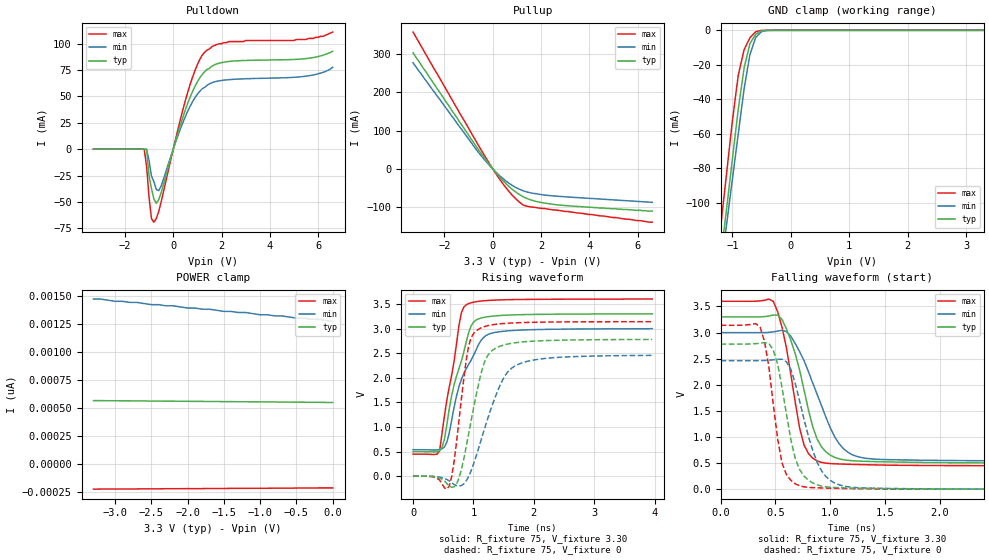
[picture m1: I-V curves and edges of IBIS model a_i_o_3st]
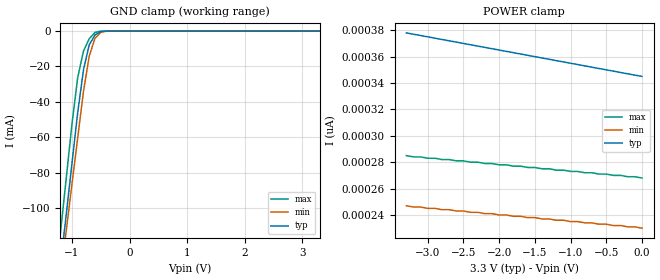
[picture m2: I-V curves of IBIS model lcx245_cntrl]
|   ON Semiconductor Corporation
|   IBIS Model of 74LCX245DT
|   Low Voltage CMOS Octal Transceiver
|   TSSOP_20 (DT) Package Type
[IBIS Ver]   3.2
[Comment Char]   |_char
[File name]   mc74lcx245dt_c300.ibs
[File Rev]   1.0
[Date]   11/21/03
[Source]
From DC lab measurements and simulations for AC at ON Semiconductor
[Notes]
Created by Duane Mattheisen
Modeling Support Engineer
| This model represents the 74LCX245DT where 3.0<= Vcc =< 3.6
[Disclaimer]
ON Semiconductor Corporation hereby grants
the user of this IBIS model a license to use this IBIS
model under the following terms. This license in non-exclusive
and non-transferable. Before using this IBIS model. After reading
the terms and conditions of this license, the user either must accept
these terms, or the IBIS model should be returned to ON within 30 days.
     The user is hereby granted a license to use the
IBIS model. This shall not be construed as a right to sell, or otherwise
profit either by leasing or renting this software.
     The user may modify the IBIS model to suit his specific applications
but rights to derivative works and such modifications shall belong to
ON Semiconductor.
     This IBIS model is provided on an "as is" basis. ON Semiconductor
makes absolutely no warranty with respect to the information contained
herein. By use of this IBIS model, the user assumes full risk as to the
quality and suitability of the model to his particular use, and by using
this model assumes the entire risk. Under all circumstances the user shall
not hold ON Semiconductor liable in any way for the results obtained. ON
Semiconductor reserves the right to make to improve the model for reliability,
function, or design. ON Semiconductor does not convey any license under patent
rights or any other intellectual property rights, including those of third
parties.
ON Semiconductor is not obligated to provide maintenance or support
for the licensed IBIS model.
Cont ON at ATTN:LOGIC APPLICATIONS/IBIS MODEL.
5005 E. McDowell Road, Phoenix AZ 85008
[Copyright]
(c) 2002 ON Semiconductor Corp.
[Component]   74LCX245
Si_location Pin
Timing_location Pin
[Manufacturer]   ON Semiconductor Corp.
[Package]
R_pkg   0.162   0.156   0.171
L_pkg   2.13nH   1.68nH   2.58nH
C_pkg   0.25pF   0.22pF   0.27pF
[Pin] signal_name   model_name   R_pin   L_pin   C_pin
1   T/R   lcx245_cntrl   .171   2.58nH   .27pF
2   A0   a_i_o_3st   .167   2.35nH   .26pF
3   B0   a_i_o_3st   .164   2.12nH   .25pF
4   A1   a_i_o_3st   .160   1.90nH   .23pF
5   B1   a_i_o_3st   .156   1.68nH   .22pF
6   A2   a_i_o_3st   .156   1.68nH   .22pF
7   B2   a_i_o_3st   .160   1.90nH   .23pF
8   A3   a_i_o_3st   .164   2.12nH   .25pF
9   B3   a_i_o_3st   .167   2.35nH   .26pF
10   GND   GND   .171   2.58nH   .27pF
11   A3   b_i_o_3st   .171   2.58nH   .27pF
12   B3   b_i_o_3st   .167   2.35nH   .26pF
13   A2   b_i_o_3st   .164   2.12nH   .25pF
14   B2   b_i_o_3st   .160   1.90nH   .23pF
15   A1   b_i_o_3st   .156   1.68nH   .22pF
16   B1   b_i_o_3st   .156   1.68nH   .22pF
17   A0   b_i_o_3st   .160   1.90nH   .23pF
18   B0   b_i_o_3st   .164   2.12nH   .25pF
19   OE   lcx245_cntrl   .167   2.35nH   .26pF
20   VCC   POWER   .171   2.58nH   .27pF
| Models and submodels in the file (3): a_i_o_3st (I/O), b_i_o_3st (I/O), lcx245_cntrl (Input)
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[Model]   a_i_o_3st
Model_type I/O
Enable Active-Low
Polarity Non-Inverting
Vref=0
Cref=50p
Rref=500
Vmeas=1.5
Vinh=2.0
Vinl=0.8
C_comp   7p   7p   7p
[Temperature Range] 25   85   -40
[Voltage Range]   3.3   3.0   3.6
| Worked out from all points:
|   slope of the pulldown table from 0 to 0.495 V, typ, clamps not added: 13.5 ohm
|   slope of the pullup table from 0 to 0.495 V, typ, clamps not added: 14 ohm
|   GND clamp passes 1 mA (typ) near -0.54 V on its own axis
|   falling waveform, R_fixture 75, V_fixture 3.30: 20-80 % time 206ps typ, 284ps min, 158ps max; typ from 3.3 V to 0.5 V
|   falling waveform, R_fixture 75, V_fixture 0: 20-80 % time 151ps typ, 198ps min, 123ps max; typ from 2.78 V to 0 V
|   rising waveform, R_fixture 75, V_fixture 3.30: 20-80 % time 322ps typ, 398ps min, 246ps max; typ from 0.5 V to 3.3 V
|   rising waveform, R_fixture 75, V_fixture 0: 20-80 % time 284ps typ, 421ps min, 188ps max; typ from 0 V to 2.78 V
[GND Clamp]
|VIN   IIN   IIN   IIN
-3.3V     -737mA     -689mA     -763mA
-1.2V     -132mA     -139mA     -114mA
-1.1V     -104mA     -113mA     -83.4mA
-1V       -74.8mA    -86.5mA    -52.5mA
-900mV    -46mA      -60.3mA    -26.2mA
-800mV    -21.9mA    -34.1mA    -11.3mA
-700mV    -7.72mA    -14.1mA    -4.29mA
-600mV    -2.18mA    -4.02mA    -769uA
-500mV    -264uA     -735uA     -24.3uA
-400mV    -9.72uA    -53.6uA    -271nA
3.3V      2.02nA     2.24nA     595pA
[POWER Clamp]
| VIN   IIN   IIN   IIN
-3.3V     565pA      1.47nA     -224pA
-2.5V     561pA      1.42nA     -221pA
-2.2V     560pA      1.41nA     -220pA
-2V       559pA      1.39nA     -219pA
-1.7V     557pA      1.38nA     -218pA
-1.5V     556pA      1.36nA     -218pA
-1.2V     555pA      1.35nA     -217pA
-1V       554pA      1.33nA     -216pA
-700mV    552pA      1.32nA     -215pA
-500mV    551pA      1.3nA      -214pA
-200mV    550pA      1.29nA     -213pA
0V        548pA      1.27nA     -213pA
[Pullup]
|VOUT   IOUT   IOUT   IOUT
-3.3V     303mA      277mA      357mA
-700mV    60mA       52mA       73mA
-300mV    24.6mA     20.8mA     30.4mA
100mV     -7.72mA    -6.44mA    -9.74mA
500mV     -35.6mA    -29.2mA    -45.5mA
800mV     -52.9mA    -42.8mA    -68.2mA
1.1V      -66.7mA    -53mA      -86.5mA
1.3V      -73.8mA    -57.9mA    -95.4mA
1.5V      -79.2mA    -61.5mA    -98.5mA
1.9V      -86.3mA    -66.1mA    -102mA
2.5V      -92.5mA    -70.4mA    -107mA
6.6V      -110mA     -87.2mA    -139mA
[Pulldown]
|VOUT   IOUT   IOUT   IOUT
-3.3V     18uA       16uA       15uA
-1.2V     18uA       16uA       15uA
-1.1V     18uA       16uA       -16.6mA
-1V       -25.2mA    -10.7mA    -45.5mA
-900mV    -37.1mA    -25.3mA    -65.7mA
-800mV    -47.1mA    -30.7mA    -69.1mA
-600mV    -47.8mA    -39.2mA    -59.1mA
600mV     43.4mA     36mA       53.9mA
1.3V      73.4mA     58.6mA     91.8mA
2.3V      83.1mA     65.9mA     102mA
5.3V      85.5mA     68.7mA     104mA
6.6V      92.8mA     77.6mA     111mA
[Ramp]
dV/dt_r   1.67E+00/2.8E-10   1.47E+00/4.4E-10   1.88E+00/2E-10
dV/dt_f   1.68E+00/2E-10   1.48E+00/2.8E-10   1.89E+00/1.60E-10
[Falling Waveform]
R_fixture=75
C_fixture=0p
V_fixture=3.30
V_fixture_min=3.00
V_fixture_max=3.60
|Time   Typ   Min   Max
|SECONDS   VOLTS   VOLTS   VOLTS
0s        3.3V       3V         3.6V
480ps     3.336V     3.014V     3.597V
520ps     3.336V     3.029V     3.396V
600ps     3.069V     3.02V      2.706V
720ps     2.282V     2.635V     1.173V
760ps     1.904V     2.464V     848.4mV
880ps     958.8mV    1.816V     541.6mV
1.08ns    581.1mV    871.6mV    482.7mV
1.28ns    536.4mV    607.4mV    470.6mV
3.96ns    500mV      540mV      450mV
[Falling Waveform]
R_fixture=75
C_fixture=0p
V_fixture=0
|Time   Typ   Min   Max
|SECONDS   VOLTS   VOLTS   VOLTS
0s        2.78V      2.462V     3.14V
360ps     2.796V     2.463V     3.101V
400ps     2.808V     2.466V     2.831V
480ps     2.663V     2.478V     1.618V
560ps     1.944V     2.489V     495.5mV
640ps     950.5mV    2.297V     168.8mV
720ps     375.7mV    1.689V     64.29mV
880ps     83.19mV    513.2mV    25.87mV
1.12ns    24.64mV    61.17mV    12.86mV
3.96ns    0V         0V         0V
[Rising Waveform]
R_fixture=75
C_fixture=0p
V_fixture=3.30
V_fixture_min=3.00
V_fixture_max=3.60
|Time   Typ   Min   Max
|SECONDS   VOLTS   VOLTS   VOLTS
0s        500mV      540mV      450mV
440ps     517.5mV    544.9mV    516.4mV
560ps     1.052V     691.4mV    1.551V
640ps     1.644V     1.143V     2.06V
760ps     2.186V     1.82V      3.068V
880ps     2.725V     2.185V     3.484V
1ns       3.129V     2.452V     3.536V
1.16ns    3.225V     2.811V     3.564V
1.36ns    3.258V     2.923V     3.579V
3.96ns    3.3V       3V         3.6V
[Rising Waveform]
R_fixture=75
C_fixture=0p
V_fixture=0
|Time   Typ   Min   Max
|SECONDS   VOLTS   VOLTS   VOLTS
0s        0V         0V         0V
600ps     -198.7mV   -93.61mV   -196mV
680ps     -214.9mV   -168.1mV   304.3mV
760ps     -36.43mV   -196.7mV   1.132V
920ps     859.1mV    -4.881mV   2.647V
1.08ns    1.848V     548.4mV    2.985V
1.28ns    2.521V     1.333V     3.071V
1.52ns    2.672V     2.037V     3.105V
1.72ns    2.717V     2.262V     3.118V
3.96ns    2.78V      2.456V     3.14V
[Model]   lcx245_cntrl
Model_type Input
Vinh=2.0
Vinl=0.8
C_comp   7p   7p   7p
[Temperature Range] 25   85   -40
[Voltage Range]   3.3   3.0   3.6
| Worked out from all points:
|   GND clamp passes 1 mA (typ) near -0.54 V on its own axis
[GND Clamp]
|VIN   IIN   IIN   IIN
-3.3V     -737mA     -689mA     -763mA
-1.2V     -132mA     -139mA     -114mA
-1.1V     -104mA     -113mA     -83.4mA
-1V       -74.8mA    -86.5mA    -52.5mA
-900mV    -46mA      -60.3mA    -26.2mA
-800mV    -21.9mA    -34.1mA    -11.3mA
-700mV    -7.72mA    -14.1mA    -4.29mA
-600mV    -2.18mA    -4.02mA    -769uA
-500mV    -264uA     -735uA     -24.3uA
-400mV    -9.72uA    -53.6uA    -271nA
3.3V      202pA      468pA      4.33nA
[POWER Clamp]
|VIN   IIN   IIN   IIN
-3.3V     378pA      247pA      285pA
-3.2V     377pA      246pA      284pA
-3.1V     376pA      246pA      284pA
-3V       375pA      245pA      283pA
-2.9V     374pA      245pA      283pA
-2.8V     373pA      244pA      282pA
-2.7V     372pA      244pA      282pA
-2.6V     371pA      243pA      281pA
-1.7V     362pA      239pA      277pA
-1.6V     361pA      238pA      276pA
-500mV    350pA      233pA      271pA
0V        345pA      230pA      268pA
